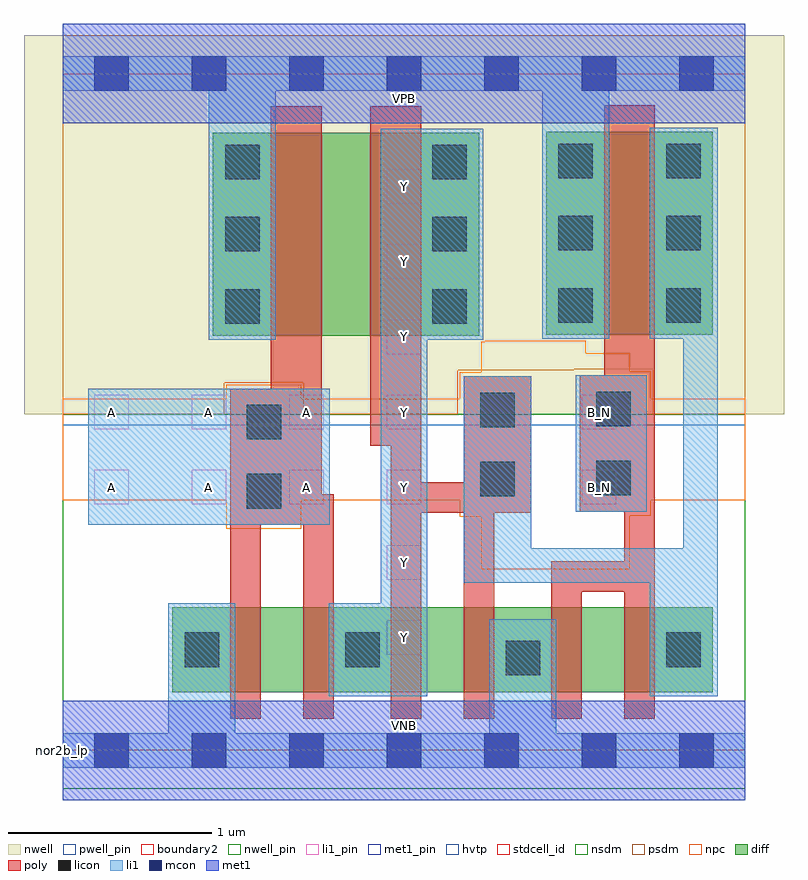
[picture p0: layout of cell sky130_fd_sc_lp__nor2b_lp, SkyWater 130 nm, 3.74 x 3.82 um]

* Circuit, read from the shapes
.subckt sky130_fd_sc_lp__nor2b_lp A B_N VGND VNB VPB VPWR Y
XM1 n1 A VGND VNB sky130_fd_pr__nfet_01v8 w=0.42 l=0.15
XM2 Y A n1 VNB sky130_fd_pr__nfet_01v8 w=0.42 l=0.15
XM3 n2 n3 Y VNB sky130_fd_pr__nfet_01v8 w=0.42 l=0.15
XM4 VGND n3 n2 VNB sky130_fd_pr__nfet_01v8 w=0.42 l=0.15
XM5 n4 B_N VGND VNB sky130_fd_pr__nfet_01v8 w=0.42 l=0.15
XM6 n3 B_N n4 VNB sky130_fd_pr__nfet_01v8 w=0.42 l=0.15
XM7 n5 A VPWR VPB sky130_fd_pr__pfet_01v8_hvt w=1 l=0.25
XM8 Y n3 n5 VPB sky130_fd_pr__pfet_01v8_hvt w=1 l=0.25
XM9 n3 B_N VPWR VPB sky130_fd_pr__pfet_01v8_hvt w=1 l=0.25
.ends

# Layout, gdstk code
import gdstk
lib = gdstk.Library(unit=1e-6, precision=1e-09)
def R(c, l, rs):  # rectangles x0, y0, x1, y1
    for r in rs: c.add(gdstk.rectangle(r[:2], r[2:], *l))
def A(c, l, x, y, w, h, nx, ny, dx, dy):  # array of equal rectangles
    R(c, l, [(x+i*dx, y+j*dy, x+i*dx+w, y+j*dy+h) for i in range(nx) for j in range(ny)])
def P(c, l, *ps):  # polygons
    for p in ps: c.add(gdstk.Polygon(p, *l))
nwell_pin = (64, 16)
nwell = (64, 20)
diff = (65, 20)
poly = (66, 20)
licon = (66, 44)
li1_pin = (67, 16)
li1 = (67, 20)
mcon = (67, 44)
met1_pin = (68, 16)
met1 = (68, 20)
hvtp = (78, 44)
stdcell_id = (81, 4)
nsdm = (93, 44)
psdm = (94, 20)
npc = (95, 20)
pwell_pin = (122, 16)
boundary2 = (236, 0)

sky130_fd_sc_lp__nor2b_l = lib.new_cell('sky130_fd_sc_lp__nor2b_lp')
R(sky130_fd_sc_lp__nor2b_l, nwell_pin, [(0,3.085,3.36,3.33)])
R(sky130_fd_sc_lp__nor2b_l, nwell, [(-0.19,1.655,3.55,3.52)])
R(sky130_fd_sc_lp__nor2b_l, diff, [(0.54,0.285,3.2,0.705), (0.74,2.04,2.05,3.04), (2.38,2.045,3.2,3.045)])
P(sky130_fd_sc_lp__nor2b_l, poly, [(1.335,1.26),(1.275,1.26),(1.275,3.17),(1.025,3.17),(1.025,1.78),(0.825,1.78),(0.825,0.155),(0.975,0.155),(0.975,1.11),(1.185,1.11),(1.185,0.155),(1.335,0.155)],
  [(2.305,1.84),(1.975,1.84),(1.975,1.32),(1.765,1.32),(1.765,3.17),(1.515,3.17),(1.515,1.5),(1.615,1.5),(1.615,0.155),(1.765,0.155),(1.765,1.17),(1.975,1.17),(1.975,0.155),(2.125,0.155),(2.125,1.17),(2.305,1.17)],
  [(2.915,3.175),(2.665,3.175),(2.665,1.845),(2.545,1.845),(2.545,1.175),(2.765,1.175),(2.765,0.93),(2.405,0.93),(2.405,0.155),(2.555,0.155),(2.555,0.78),(2.765,0.78),(2.765,0.155),(2.915,0.155)])
A(sky130_fd_sc_lp__nor2b_l, licon, 0.8, 2.1, 0.17, 0.17, 1, 3, 0, 0.355)
A(sky130_fd_sc_lp__nor2b_l, licon, 1.82, 2.1, 0.17, 0.17, 1, 3, 0, 0.355)
A(sky130_fd_sc_lp__nor2b_l, licon, 2.44, 2.105, 0.17, 0.17, 1, 3, 0, 0.355)
A(sky130_fd_sc_lp__nor2b_l, licon, 2.97, 2.105, 0.17, 0.17, 1, 3, 0, 0.355)
R(sky130_fd_sc_lp__nor2b_l, licon, [(2.18,0.37,2.35,0.54), (0.6,0.41,0.77,0.58), (1.39,0.41,1.56,0.58), (2.97,0.41,3.14,0.58), (0.905,1.19,1.075,1.36), (2.055,1.25,2.225,1.42), (2.625,1.255,2.795,1.425), (0.905,1.53,1.075,1.7), (2.055,1.59,2.225,1.76), (2.625,1.595,2.795,1.765)])
A(sky130_fd_sc_lp__nor2b_l, li1_pin, 0.155, 1.21, 0.17, 0.17, 4, 2, 0.48, 0.37)
A(sky130_fd_sc_lp__nor2b_l, li1_pin, 1.595, 1.95, 0.17, 0.17, 1, 3, 0, 0.37)
R(sky130_fd_sc_lp__nor2b_l, li1_pin, [(1.595,0.47,1.765,0.64), (1.595,0.84,1.765,1.01), (2.555,1.21,2.725,1.38), (2.555,1.58,2.725,1.75)])
R(sky130_fd_sc_lp__nor2b_l, li1, [(0.125,1.11,1.315,1.78), (2.525,1.175,2.875,1.845)])
P(sky130_fd_sc_lp__nor2b_l, li1, [(2.36,2.025),(2.36,3.245),(1.05,3.245),(1.05,2.02),(0.72,2.02),(0.72,3.245),(0,3.245),(0,3.415),(3.36,3.415),(3.36,3.245),(2.69,3.245),(2.69,2.025)],
  [(0.52,0.085),(0.52,0.725),(0.85,0.725),(0.85,0.085),(2.1,0.085),(2.1,0.645),(2.43,0.645),(2.43,0.085),(3.36,0.085),(3.36,-0.085),(0,-0.085),(0,0.085)],
  [(1.975,0.825),(1.975,1.84),(2.305,1.84),(2.305,0.995),(3.055,0.995),(3.055,2.025),(2.89,2.025),(2.89,3.065),(3.225,3.065),(3.225,0.265),(2.89,0.265),(2.89,0.825)],
  [(1.565,3.06),(2.07,3.06),(2.07,2.02),(1.795,2.02),(1.795,0.265),(1.31,0.265),(1.31,0.725),(1.565,0.725)])
A(sky130_fd_sc_lp__nor2b_l, mcon, 0.155, -0.085, 0.17, 0.17, 7, 2, 0.48, 3.33)
R(sky130_fd_sc_lp__nor2b_l, met1_pin, [(0,0,3.36,0.245), (0,3.085,3.36,3.33)])
R(sky130_fd_sc_lp__nor2b_l, met1, [(0,-0.245,3.36,0.245), (0,3.085,3.36,3.575)])
R(sky130_fd_sc_lp__nor2b_l, hvtp, [(0,1.6,3.36,3.33)])
R(sky130_fd_sc_lp__nor2b_l, stdcell_id, [(0,0,3.36,3.33)])
R(sky130_fd_sc_lp__nor2b_l, nsdm, [(0,-0.19,3.36,1.655)])
P(sky130_fd_sc_lp__nor2b_l, psdm, [(3.36,3.52),(0,3.52),(0,1.655),(0.795,1.655),(0.795,1.81),(1.185,1.81),(1.185,1.655),(1.945,1.655),(1.945,1.87),(2.515,1.87),(2.515,1.875),(2.905,1.875),(2.905,1.655),(3.36,1.655)])
P(sky130_fd_sc_lp__nor2b_l, npc, [(3.36,1.73),(2.895,1.73),(2.895,1.865),(2.79,1.865),(2.79,1.955),(2.575,1.955),(2.575,2.015),(2.08,2.015),(2.08,2.01),(2.06,2.01),(2.06,1.86),(1.955,1.86),(1.955,1.73),(1.175,1.73),(1.175,1.8),(0.805,1.8),(0.805,1.73),(0,1.73),(0,1.23),(0.805,1.23),(0.805,1.09),(1.175,1.09),(1.175,1.23),(1.955,1.23),(1.955,1.15),(2.06,1.15),(2.06,0.89),(2.79,0.89),(2.79,1.155),(2.895,1.155),(2.895,1.23),(3.36,1.23)])
R(sky130_fd_sc_lp__nor2b_l, pwell_pin, [(0,0,3.36,0.245)])
R(sky130_fd_sc_lp__nor2b_l, boundary2, [(0,0,3.36,3.33)])
sky130_fd_sc_lp__nor2b_l.add(gdstk.Label('VNB', (1.68,0.123), layer=64, texttype=59))
sky130_fd_sc_lp__nor2b_l.add(gdstk.Label('VPB', (1.68,3.208), layer=64, texttype=5))
sky130_fd_sc_lp__nor2b_l.add(gdstk.Label('nor2b_lp', (0,0), layer=83, texttype=44))
sky130_fd_sc_lp__nor2b_l.add(gdstk.Label('VPWR', (1.68,3.208), layer=68, texttype=5))
sky130_fd_sc_lp__nor2b_l.add(gdstk.Label('VGND', (1.68,0.123), layer=68, texttype=5))
sky130_fd_sc_lp__nor2b_l.add(gdstk.Label('B_N', (2.64,1.295), layer=67, texttype=5))
sky130_fd_sc_lp__nor2b_l.add(gdstk.Label('B_N', (2.64,1.665), layer=67, texttype=5))
sky130_fd_sc_lp__nor2b_l.add(gdstk.Label('A', (0.24,1.295), layer=67, texttype=5))
sky130_fd_sc_lp__nor2b_l.add(gdstk.Label('A', (0.24,1.665), layer=67, texttype=5))
sky130_fd_sc_lp__nor2b_l.add(gdstk.Label('A', (0.72,1.295), layer=67, texttype=5))
sky130_fd_sc_lp__nor2b_l.add(gdstk.Label('A', (0.72,1.665), layer=67, texttype=5))
sky130_fd_sc_lp__nor2b_l.add(gdstk.Label('A', (1.2,1.295), layer=67, texttype=5))
sky130_fd_sc_lp__nor2b_l.add(gdstk.Label('A', (1.2,1.665), layer=67, texttype=5))
sky130_fd_sc_lp__nor2b_l.add(gdstk.Label('Y', (1.68,0.555), layer=67, texttype=5))
sky130_fd_sc_lp__nor2b_l.add(gdstk.Label('Y', (1.68,0.925), layer=67, texttype=5))
sky130_fd_sc_lp__nor2b_l.add(gdstk.Label('Y', (1.68,1.295), layer=67, texttype=5))
sky130_fd_sc_lp__nor2b_l.add(gdstk.Label('Y', (1.68,1.665), layer=67, texttype=5))
sky130_fd_sc_lp__nor2b_l.add(gdstk.Label('Y', (1.68,2.035), layer=67, texttype=5))
sky130_fd_sc_lp__nor2b_l.add(gdstk.Label('Y', (1.68,2.405), layer=67, texttype=5))
sky130_fd_sc_lp__nor2b_l.add(gdstk.Label('Y', (1.68,2.775), layer=67, texttype=5))

lib.write_gds('sky130_fd_sc_lp__nor2b_lp.gds')
